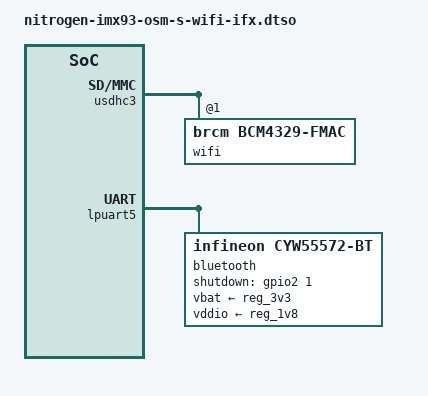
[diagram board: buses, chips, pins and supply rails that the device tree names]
// SPDX-License-Identifier: (GPL-2.0+ OR MIT)
/*
 * On-SOM SDIO LWBxx & IFxxx (Infineon CYW55572) Wi-Fi/BT
 *
 * Copyright 2026 Ezurio LLC
 */

/dts-v1/;
/plugin/;

#include <dt-bindings/gpio/gpio.h>

&reg_wifi_en {
	startup-delay-us = <250000>;
	off-on-delay-us = <100>;
};

&usdhc3 { /* On-SOM Wi-Fi */
	status = "okay";

	#address-cells = <1>;
	#size-cells = <0>;

	wifi@1 {
		reg = <1>;
		compatible = "brcm,bcm4329-fmac";
	};
};

&lpuart5 { /* On-SOM BT HCI */
	pinctrl-0 = <&pinctrl_uart5>, <&pinctrl_bt_en>;

	status = "okay";

	bluetooth {
		compatible = "infineon,cyw55572-bt";
		vbat-supply = <&reg_3v3>;
		vddio-supply = <&reg_1v8>;
		brcm,requires-autobaud-mode;
		max-speed = <3000000>;
		shutdown-gpios = <&gpio2 1 GPIO_ACTIVE_HIGH>;
	};
};
